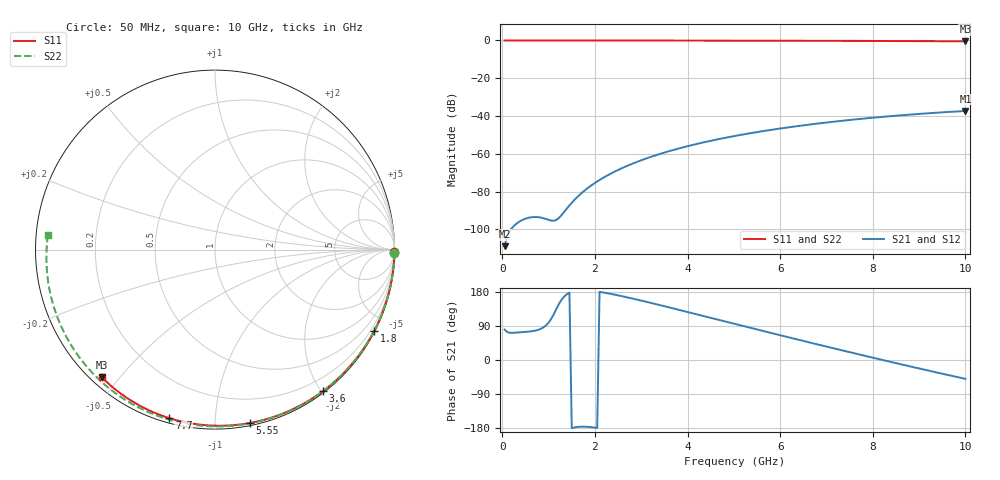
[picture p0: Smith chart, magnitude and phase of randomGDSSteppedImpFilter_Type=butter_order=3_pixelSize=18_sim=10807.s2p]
! freq	dB(S11)	phase(S11)	dB(S12)	phase(S12)
!  dB(S21)	phase(S21)	dB(S22)	phase(S22)
!S-par simulation data
#  GHz  S  DB  R 50
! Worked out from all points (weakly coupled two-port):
!   200 points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, 50 MHz to 10 GHz, reference 50 ohm
!   highest |S21| = -37.33 dB at 10 GHz (marker M1); lowest = -108.9 dB at 50 MHz (marker M2)
!   lowest |S11| = -0.4 dB at 10 GHz (marker M3), VSWR 39.49, Z = 1.52 - j22.4 ohm
!   |S11| at or under -10 dB: nowhere
!   |S22| runs from -0.6 to 0.0 dB; largest |S21 - S12| = 0
!   S11 on the Smith chart (normalised r, x): 50 MHz: open; 1.8 GHz: 0.04, -4.17; 3.6 GHz: 0.02, -2.02; 5.55 GHz: 0.02, -1.22; 7.7 GHz: 0.02, -0.77; 10 GHz: 0.03, -0.45
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0.05  -0.00 -0.8  -108.89 80.3  -108.89 80.3  -0.00 -1.1
0.45  -0.01 -6.8  -94.84 73.6  -94.84 73.6  -0.01 -9.7
0.85  -0.02 -12.8  -93.86 83.4  -93.86 83.4  -0.02 -18.3
1.3  -0.02 -19.6  -91.83 162.3  -91.83 162.3  -0.04 -27.8
1.75  -0.03 -26.2  -79.99 -175.9  -79.99 -175.9  -0.05 -37.2
1.8  -0.03 -26.9  -78.99 -176.1  -78.99 -176.1  -0.05 -38.2
2.1  -0.04 -31.3  -73.84 179.8  -73.84 179.8  -0.06 -44.3
2.3  -0.04 -34.2  -71.03 175.5  -71.03 175.5  -0.06 -48.4
2.5  -0.05 -37.1  -68.55 170.6  -68.55 170.6  -0.07 -52.4
2.9  -0.06 -42.8  -64.35 159.7  -64.35 159.7  -0.08 -60.4
3.4  -0.07 -49.9  -60.09 145.0  -60.09 145.0  -0.09 -70.1
3.6  -0.07 -52.7  -58.61 138.9  -58.61 138.9  -0.10 -73.9
4.3  -0.09 -62.3  -54.20 117.5  -54.20 117.5  -0.12 -86.9
5.05  -0.11 -72.2  -50.42 94.4  -50.42 94.4  -0.15 -100.4
5.55  -0.13 -78.7  -48.30 79.0  -48.30 79.0  -0.18 -109.2
6.1  -0.15 -85.7  -46.26 62.3  -46.26 62.3  -0.21 -118.6
6.7  -0.18 -93.1  -44.31 44.3  -44.31 44.3  -0.25 -128.8
7.2  -0.21 -99.2  -42.88 29.5  -42.88 29.5  -0.29 -137.1
7.7  -0.24 -105.1  -41.60 14.8  -41.60 14.8  -0.33 -145.5
8.35  -0.29 -112.7  -40.13 -4.0  -40.13 -4.0  -0.39 -156.4
9.2  -0.36 -122.5  -38.53 -27.9  -38.53 -27.9  -0.49 -170.9
10  -0.44 -131.7  -37.33 -49.7  -37.33 -49.7  -0.59 175.0
